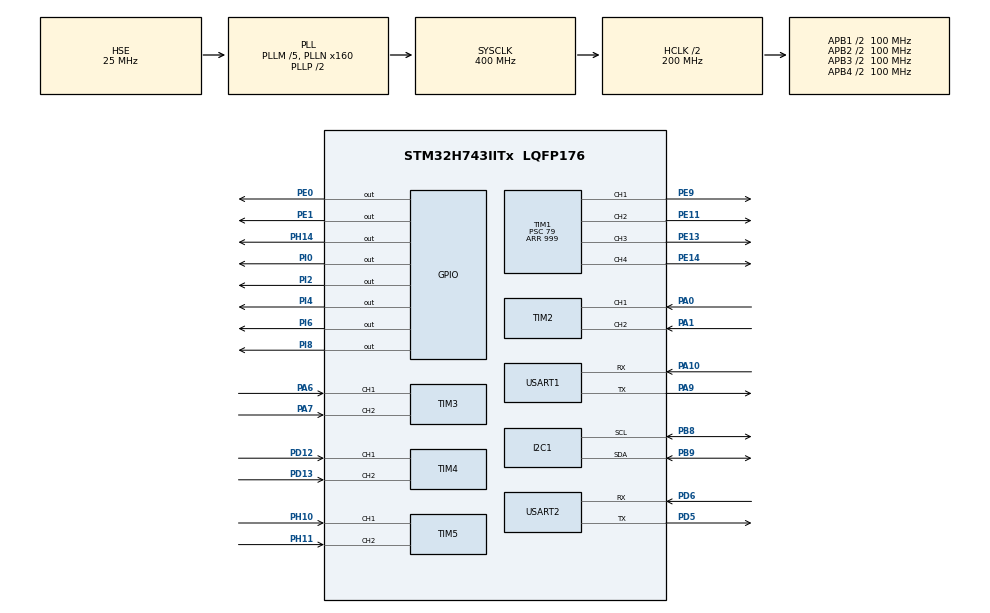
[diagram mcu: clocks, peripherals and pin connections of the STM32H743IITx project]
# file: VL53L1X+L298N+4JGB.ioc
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CORTEX_M7.default_mode_Activation=1
I2C1.Timing=0x10C0ECFF
Mcu.Family=STM32H7
Mcu.Name=STM32H743IITx
Mcu.Package=LQFP176
NVIC.PriorityGroup=NVIC_PRIORITYGROUP_4
NVIC.USART2_IRQn=true\:5\:0\:true\:false\:true\:true\:true\:true
PA0.Signal=S_TIM2_CH1_ETR
PA1.Signal=S_TIM2_CH2
PA10.Mode=Asynchronous
PA10.Signal=USART1_RX
PA6.Signal=S_TIM3_CH1
PA7.Signal=S_TIM3_CH2
PA9.Mode=Asynchronous
PA9.Signal=USART1_TX
PB8.Mode=I2C
PB8.Signal=I2C1_SCL
PB9.Mode=I2C
PB9.Signal=I2C1_SDA
PD12.Signal=S_TIM4_CH1
PD13.Signal=S_TIM4_CH2
PD5.Mode=Asynchronous
PD5.Signal=USART2_TX
PD6.Mode=Asynchronous
PD6.Signal=USART2_RX
PE0.Signal=GPIO_Output
PE1.Signal=GPIO_Output
PE11.Signal=S_TIM1_CH2
PE13.Signal=S_TIM1_CH3
PE14.Signal=S_TIM1_CH4
PE9.Signal=S_TIM1_CH1
PH0-OSC_IN\ (PH0).Mode=HSE-External-Oscillator
PH0-OSC_IN\ (PH0).Signal=RCC_OSC_IN
PH1-OSC_OUT\ (PH1).Mode=HSE-External-Oscillator
PH1-OSC_OUT\ (PH1).Signal=RCC_OSC_OUT
PH10.Signal=S_TIM5_CH1
PH11.Signal=S_TIM5_CH2
PH14.Signal=GPIO_Output
PI0.Signal=GPIO_Output
PI2.Signal=GPIO_Output
PI4.Signal=GPIO_Output
PI6.Signal=GPIO_Output
PI8.Signal=GPIO_Output
ProjectManager.HeapSize=0x200
ProjectManager.StackSize=0x400
ProjectManager.TargetToolchain=MDK-ARM V5.32
RCC.ADCFreq_Value=50390625
RCC.APB1Freq_Value=100000000
RCC.APB2Freq_Value=100000000
RCC.APB3Freq_Value=100000000
RCC.APB4Freq_Value=100000000
RCC.CortexFreq_Value=400000000
RCC.D1PPRE=RCC_APB3_DIV2
RCC.D2PPRE1=RCC_APB1_DIV2
RCC.D2PPRE2=RCC_APB2_DIV2
RCC.D3PPRE=RCC_APB4_DIV2
RCC.DIVM1=5
RCC.DIVN1=160
RCC.HCLKFreq_Value=200000000
RCC.HPRE=RCC_HCLK_DIV2
RCC.PLLSourceVirtual=RCC_PLLSOURCE_HSE
RCC.SYSCLKFreq_VALUE=400000000
RCC.SYSCLKSource=RCC_SYSCLKSOURCE_PLLCLK
RCC.USBFreq_Value=400000000
SH.S_TIM1_CH1.0=TIM1_CH1,PWM Generation1 CH1
SH.S_TIM1_CH2.0=TIM1_CH2,PWM Generation2 CH2
SH.S_TIM1_CH3.0=TIM1_CH3,PWM Generation3 CH3
SH.S_TIM1_CH4.0=TIM1_CH4,PWM Generation4 CH4
SH.S_TIM2_CH1_ETR.0=TIM2_CH1,Encoder_Interface
SH.S_TIM2_CH2.0=TIM2_CH2,Encoder_Interface
SH.S_TIM3_CH1.0=TIM3_CH1,Encoder_Interface
SH.S_TIM3_CH2.0=TIM3_CH2,Encoder_Interface
SH.S_TIM4_CH1.0=TIM4_CH1,Encoder_Interface
SH.S_TIM4_CH2.0=TIM4_CH2,Encoder_Interface
SH.S_TIM5_CH1.0=TIM5_CH1,Encoder_Interface
SH.S_TIM5_CH2.0=TIM5_CH2,Encoder_Interface
TIM1.Channel-PWM\ Generation1\ CH1=TIM_CHANNEL_1
TIM1.Channel-PWM\ Generation2\ CH2=TIM_CHANNEL_2
TIM1.Channel-PWM\ Generation3\ CH3=TIM_CHANNEL_3
TIM1.Channel-PWM\ Generation4\ CH4=TIM_CHANNEL_4
TIM1.Period=999
TIM1.Prescaler=79
TIM2.EncoderMode=TIM_ENCODERMODE_TI12
TIM3.EncoderMode=TIM_ENCODERMODE_TI12
TIM4.EncoderMode=TIM_ENCODERMODE_TI12
TIM5.EncoderMode=TIM_ENCODERMODE_TI12
USART1.VirtualMode-Asynchronous=VM_ASYNC
USART2.VirtualMode-Asynchronous=VM_ASYNC
board=custom

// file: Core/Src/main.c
/* USER CODE BEGIN Header */
/**
  ******************************************************************************
  * @file           : main.c
  * @brief          : Main program for tennis ball collection robot
  ******************************************************************************
  * @attention
  * Copyright (c) 2025 STMicroelectronics.
  * All rights reserved.
  * This software is licensed under terms that can be found in the LICENSE file
  * in the root directory of this software component.
  * If no LICENSE file comes with this software, it is provided AS-IS.
  ******************************************************************************
  */
/* USER CODE END Header */

#include "main.h"
#include "vl53l1_platform.h"
#include "VL53L1X_api.h"
#include <stdio.h>
#include <string.h>
#include <math.h>

/* USER CODE BEGIN Includes */
#define VL53L1X_DEV_ADDR  0x52      // 7-bit address << 1

// 状态定义
#define STATE_SEARCH        0  // 搜索状态：机器人正在旋转寻找网球
#define STATE_CENTERING     1  // 居中状态：机器人检测到网球后，调整位置使其在视野中心
#define STATE_APPROACH      2  // 接近状态：机器人向网球移动，保持网球在视野中心
#define STATE_LASER_GUIDED  3  // 激光引导状态：使用激光测距传感器进行精确接近
#define STATE_SUCCESS       4  // 成功状态：机器人已到达目标位置，收集网球

// 参数配置
#define CENTER_THRESHOLD   20       // 中心位置阈值(像素)
#define LASER_TARGET_MM    200      // 激光测距目标距离(mm)
#define LASER_MIN_MM       150      // 最小安全距离(mm)
#define LASER_START_MM     500      // 开始激光引导的距离(mm)
#define FORWARD_SPEED      700      // 前进速度(0-999)
#define TURN_SPEED         600      // 转向速度(0-999)
#define SLOW_SPEED         400      // 慢速前进速度
#define CENTER_TIMEOUT     5000     // 居中状态超时(ms)
#define APPROACH_TIMEOUT   10000    // 接近状态超时(ms)
#define LASER_START_MM     500   // 开始激光引导的距离(mm)
#define LASER_TARGET_MM    200   // 目标距离(mm)
#define LASER_MIN_MM       150   // 最小安全距离(mm)
#define MOTOR_PWM_60       600   // 60% PWM速度

// 视觉数据结构
typedef struct {
    uint32_t timestamp;
    uint8_t presence;      // 目标存在标志
    float dx, dy;          // 位置偏移
    float radius;          // 目标半径
    uint8_t approach_flag; // 允许接近标志
} VisionData;

/* USER CODE END Includes */

//定时器与串口等句柄
I2C_HandleTypeDef hi2c1;

TIM_HandleTypeDef htim1;   // PWM for EN pins
TIM_HandleTypeDef htim2;   // Encoder C
TIM_HandleTypeDef htim3;   // Encoder D
TIM_HandleTypeDef htim4;   // Encoder A
TIM_HandleTypeDef htim5;   // Encoder B

UART_HandleTypeDef huart1;
UART_HandleTypeDef huart2;

/* USER CODE BEGIN PV */
// 全局变量
VisionData currentVision = {0};       //当前视觉数据
uint16_t distance_mm = 0;							//激光测距的距离
uint8_t dataReady = 0;								//数据就绪标志
char uartBuf[128];                    //串口输出缓冲区

// 串口接收相关变量
uint8_t rxBuffer[128];  //串口接收缓冲区
uint8_t rxByte;         //接收字节
uint16_t rxIndex = 0;   //接收索引
uint8_t frameStarted = 0;   //帧开始标志

// 状态机变量
uint8_t state = STATE_SEARCH;         // 当前状态
uint32_t last_state_change = 0;       // 上次状态改变时间
uint32_t last_print_time = 0;         // 上次打印时间
uint32_t last_vision_print = 0;       // 上次视觉打印时间
uint32_t last_distance_print = 0;     // 上次距离打印时间

uint8_t debug_enabled = 1;            // 调试使能标志
uint8_t position_success_received = 0;// 定位成功标志

/* USER CODE END PV */

//声明系统初始化函数和用户自定义函数
void SystemClock_Config(void);
static void MPU_Config(void);
static void MX_GPIO_Init(void);
static void MX_I2C1_Init(void);
static void MX_TIM1_Init(void);
static void MX_TIM2_Init(void);
static void MX_TIM3_Init(void);
static void MX_TIM4_Init(void);
static void MX_TIM5_Init(void);
static void MX_USART1_UART_Init(void);
static void MX_USART2_UART_Init(void);
void Error_Handler(void);

/* USER CODE BEGIN PFP */
// 函数声明
void motor_stop(void);
void motor_forward(uint16_t speed);
void motor_backward(uint16_t speed);
void motor_turn_left(uint16_t speed);
void motor_turn_right(uint16_t speed);
void parseVisionData(uint8_t *data);
void update_state_machine(void);
void print_debug_info(void);
/* USER CODE END PFP */

/* USER CODE BEGIN 0 */
/**
  * @brief 解析视觉数据
  * @param data 收到的视觉数据帧
  */
void parseVisionData(uint8_t *data) {
    // 解析字符串格式数据；提取时间戳、位置偏移、半径等信息；检测"POSITION_SUCCESS"消息
    char *token = strtok((char*)data, ",");

    // 临时变量
    uint32_t t = 0;
    uint8_t pres = 0;
    float dx = 0, dy = 0, r = 0;
    uint8_t app = 0;

    while (token != NULL) {
        if (strstr(token, "t=")) {
            t = atoi(token + 2);
        }
        else if (strstr(token, "pres=")) {
            pres = atoi(token + 5);
        }
        else if (strstr(token, "dx=")) {
            dx = atof(token + 3);
        }
        else if (strstr(token, "dy=")) {
            dy = atof(token + 3);
        }
        else if (strstr(token, "r=")) {
            r = atof(token + 2);
        }
        else if (strstr(token, "app=")) {
            app = atoi(token + 4);
        }
        // 检测定位成功消息
        else if (strstr(token, "SYSTEM") && strstr(token, "POSITION_SUCCESS")) {
            position_success_received = 1;
            if (debug_enabled) {
                HAL_UART_Transmit(&huart1, (uint8_t*)"[SUCCESS] Position success received!\r\n", 38, 100);
            }
        }
        token = strtok(NULL, ",");
    }

    // 更新视觉数据结构
    currentVision.timestamp = t;
    currentVision.presence = pres;
    currentVision.dx = dx;
    currentVision.dy = dy;
    currentVision.radius = r;
    currentVision.approach_flag = app;
}

/**
  * @brief USART2接收中断回调函数
  */
void HAL_UART_RxCpltCallback(UART_HandleTypeDef *huart) {
    // 重新使能下一次中断
    if (huart->Instance == USART2) {
        HAL_UART_Receive_IT(&huart2, &rxByte, 1);

        if (rxByte == '<') {
            frameStarted = 1;
            rxIndex = 0;
            rxBuffer[rxIndex++] = rxByte;
        }
        else if (frameStarted) {
            if (rxIndex < sizeof(rxBuffer)-1) {
                rxBuffer[rxIndex++] = rxByte;
                // 检测到完整帧尾 ">\n"
                if (rxByte == '\n' && rxIndex >= 2 && rxBuffer[rxIndex-2] == '>') {
                    rxBuffer[rxIndex] = '\0'; // 添加字符串结束符

                    // 调试输出
                    if (debug_enabled) {
                        HAL_UART_Transmit(&huart1, (uint8_t*)"[VISION RAW] ", 12, 50);
                        HAL_UART_Transmit(&huart1, rxBuffer, rxIndex, 100);
                        HAL_UART_Transmit(&huart1, (uint8_t*)"\r\n", 2, 50);
                    }

                    parseVisionData(rxBuffer);
                    frameStarted = 0;
                }
            } else {
                // 缓冲区溢出，重置
                frameStarted = 0;
                if (debug_enabled) {
                    HAL_UART_Transmit(&huart1, (uint8_t*)"[WARN] Vision buffer overflow!\r\n", 31, 100);
                }
            }
        }
    }
}

/**
  * @brief 电机控制函数
  */
void motor_stop(void) { //关闭所有电机
    __HAL_TIM_SET_COMPARE(&htim1, TIM_CHANNEL_1, 0); // A
    __HAL_TIM_SET_COMPARE(&htim1, TIM_CHANNEL_2, 0); // B
    __HAL_TIM_SET_COMPARE(&htim1, TIM_CHANNEL_3, 0); // D
    __HAL_TIM_SET_COMPARE(&htim1, TIM_CHANNEL_4, 0); // C
}

/**
  * @brief 控制小车前进
  * @param speed PWM速度值 (0-999)
  */
/**
  * @brief 控制小车前进 (修正方向)
  * @param speed PWM速度值 (0-999)
  */
void motor_forward(uint16_t speed) {
    // 左侧电机 (A和C) - 正转 (修正方向)
    HAL_GPIO_WritePin(GPIOH, GPIO_PIN_14, GPIO_PIN_RESET);   // A_IN1
    HAL_GPIO_WritePin(GPIOI, GPIO_PIN_0, GPIO_PIN_SET);      // A_IN2
    HAL_GPIO_WritePin(GPIOI, GPIO_PIN_8, GPIO_PIN_RESET);    // C_IN1
    HAL_GPIO_WritePin(GPIOI, GPIO_PIN_6, GPIO_PIN_SET);      // C_IN2

    // 右侧电机 (B和D) - 正转 (修正方向)
    HAL_GPIO_WritePin(GPIOI, GPIO_PIN_2, GPIO_PIN_RESET);    // B_IN1
    HAL_GPIO_WritePin(GPIOI, GPIO_PIN_4, GPIO_PIN_SET);      // B_IN2
    HAL_GPIO_WritePin(GPIOE, GPIO_PIN_1, GPIO_PIN_RESET);     // D_IN1
    HAL_GPIO_WritePin(GPIOE, GPIO_PIN_0, GPIO_PIN_SET);       // D_IN2

    // 设置PWM速度
    __HAL_TIM_SET_COMPARE(&htim1, TIM_CHANNEL_1, speed); // A
    __HAL_TIM_SET_COMPARE(&htim1, TIM_CHANNEL_2, speed); // B
    __HAL_TIM_SET_COMPARE(&htim1, TIM_CHANNEL_3, speed); // D
    __HAL_TIM_SET_COMPARE(&htim1, TIM_CHANNEL_4, speed); // C
}

/**
  * @brief 控制小车后退 (修正方向)
  * @param speed PWM速度值 (0-999)
  */
void motor_backward(uint16_t speed) {
    // 左侧电机 (A和C) - 反转 (修正方向)
    HAL_GPIO_WritePin(GPIOH, GPIO_PIN_14, GPIO_PIN_SET);      // A_IN1
    HAL_GPIO_WritePin(GPIOI, GPIO_PIN_0, GPIO_PIN_RESET);     // A_IN2
    HAL_GPIO_WritePin(GPIOI, GPIO_PIN_8, GPIO_PIN_SET);       // C_IN1
    HAL_GPIO_WritePin(GPIOI, GPIO_PIN_6, GPIO_PIN_RESET);     // C_IN2

    // 右侧电机 (B和D) - 反转 (修正方向)
    HAL_GPIO_WritePin(GPIOI, GPIO_PIN_2, GPIO_PIN_SET);       // B_IN1
    HAL_GPIO_WritePin(GPIOI, GPIO_PIN_4, GPIO_PIN_RESET);     // B_IN2
    HAL_GPIO_WritePin(GPIOE, GPIO_PIN_1, GPIO_PIN_SET);       // D_IN1
    HAL_GPIO_WritePin(GPIOE, GPIO_PIN_0, GPIO_PIN_RESET);     // D_IN2

    // 设置PWM速度
    __HAL_TIM_SET_COMPARE(&htim1, TIM_CHANNEL_1, speed); // A
    __HAL_TIM_SET_COMPARE(&htim1, TIM_CHANNEL_2, speed); // B
    __HAL_TIM_SET_COMPARE(&htim1, TIM_CHANNEL_3, speed); // D
    __HAL_TIM_SET_COMPARE(&htim1, TIM_CHANNEL_4, speed); // C
}

/**
  * @brief 控制小车左转 (修正方向)
  * @param speed PWM速度值 (0-999)
  */
void motor_turn_left(uint16_t speed) {
    // 左侧后退 (修正方向)
    HAL_GPIO_WritePin(GPIOH, GPIO_PIN_14, GPIO_PIN_SET);      // A_IN1
    HAL_GPIO_WritePin(GPIOI, GPIO_PIN_0, GPIO_PIN_RESET);     // A_IN2
    HAL_GPIO_WritePin(GPIOI, GPIO_PIN_8, GPIO_PIN_SET);       // C_IN1
    HAL_GPIO_WritePin(GPIOI, GPIO_PIN_6, GPIO_PIN_RESET);     // C_IN2

    // 右侧前进 (修正方向)
    HAL_GPIO_WritePin(GPIOI, GPIO_PIN_2, GPIO_PIN_RESET);    // B_IN1
    HAL_GPIO_WritePin(GPIOI, GPIO_PIN_4, GPIO_PIN_SET);      // B_IN2
    HAL_GPIO_WritePin(GPIOE, GPIO_PIN_1, GPIO_PIN_RESET);     // D_IN1
    HAL_GPIO_WritePin(GPIOE, GPIO_PIN_0, GPIO_PIN_SET);       // D_IN2

    // 设置PWM速度
    __HAL_TIM_SET_COMPARE(&htim1, TIM_CHANNEL_1, speed); // A
    __HAL_TIM_SET_COMPARE(&htim1, TIM_CHANNEL_2, speed); // B
    __HAL_TIM_SET_COMPARE(&htim1, TIM_CHANNEL_3, speed); // D
    __HAL_TIM_SET_COMPARE(&htim1, TIM_CHANNEL_4, speed); // C
}

/**
  * @brief 控制小车右转 (修正方向)
  * @param speed PWM速度值 (0-999)
  */
void motor_turn_right(uint16_t speed) {
    // 左侧前进 (修正方向)
    HAL_GPIO_WritePin(GPIOH, GPIO_PIN_14, GPIO_PIN_RESET);   // A_IN1
    HAL_GPIO_WritePin(GPIOI, GPIO_PIN_0, GPIO_PIN_SET);      // A_IN2
    HAL_GPIO_WritePin(GPIOI, GPIO_PIN_8, GPIO_PIN_RESET);    // C_IN1
    HAL_GPIO_WritePin(GPIOI, GPIO_PIN_6, GPIO_PIN_SET);      // C_IN2

    // 右侧后退 (修正方向)
    HAL_GPIO_WritePin(GPIOI, GPIO_PIN_2, GPIO_PIN_SET);       // B_IN1
    HAL_GPIO_WritePin(GPIOI, GPIO_PIN_4, GPIO_PIN_RESET);     // B_IN2
    HAL_GPIO_WritePin(GPIOE, GPIO_PIN_1, GPIO_PIN_SET);       // D_IN1
    HAL_GPIO_WritePin(GPIOE, GPIO_PIN_0, GPIO_PIN_RESET);     // D_IN2

    // 设置PWM速度
    __HAL_TIM_SET_COMPARE(&htim1, TIM_CHANNEL_1, speed); // A
    __HAL_TIM_SET_COMPARE(&htim1, TIM_CHANNEL_2, speed); // B
    __HAL_TIM_SET_COMPARE(&htim1, TIM_CHANNEL_3, speed); // D
    __HAL_TIM_SET_COMPARE(&htim1, TIM_CHANNEL_4, speed); // C
}

/**
  * @brief 更新状态机逻辑
  */
/* USER CODE BEGIN 0 */
/**
  * @brief 更新状态机逻辑
  */
void update_state_machine(void) {
    uint32_t current_time = HAL_GetTick();
    static uint32_t last_ball_time = 0;
    static uint32_t laser_start_time = 0;

    // 检查是否收到定位成功消息 - 最高优先级
    if (position_success_received) {
        state = STATE_LASER_GUIDED;
        last_state_change = current_time;
        laser_start_time = current_time;  // 记录进入激光引导的时间
        position_success_received = 0;    // 重置标志
        motor_stop();  // 确保停止

        if (debug_enabled) {
            HAL_UART_Transmit(&huart1, (uint8_t*)"[STATE] Transition to LASER_GUIDED (from position success)\r\n", 55, 100);
        }
        return;  // 立即处理状态切换
    }

    // 检测网球是否丢失（超过500ms未更新）
    if (current_time - last_ball_time > 500 && state != STATE_SEARCH && state != STATE_LASER_GUIDED) {
        if (debug_enabled) {
            HAL_UART_Transmit(&huart1, (uint8_t*)"[STATE] Ball lost, returning to SEARCH\r\n", 40, 100);
        }
        state = STATE_SEARCH;
        motor_stop();
        return;
    }

    // 更新最后检测到网球的时间
    if (currentVision.presence) {
        last_ball_time = current_time;
    }

    switch (state) {
        case STATE_SEARCH:
            // 未检测到网球，原地旋转
            if (!currentVision.presence) {
                motor_turn_left(TURN_SPEED);

                // 状态超时处理
                if (current_time - last_state_change > 10000) {
                    motor_turn_right(TURN_SPEED); // 改变旋转方向
                    last_state_change = current_time;
                }
            }
            // 检测到网球，进入居中状态
            else {
                state = STATE_CENTERING;
                last_state_change = current_time;
                motor_stop();
                HAL_Delay(100); // 短暂停止

                if (debug_enabled) {
                    HAL_UART_Transmit(&huart1, (uint8_t*)"[STATE] Transition to CENTERING\r\n", 32, 100);
                }
            }
            break;

        case STATE_CENTERING:
            // 网球丢失，返回搜索状态
            if (!currentVision.presence) {
                state = STATE_SEARCH;
                motor_stop();
                if (debug_enabled) {
                    HAL_UART_Transmit(&huart1, (uint8_t*)"[STATE] Ball lost, back to SEARCH\r\n", 35, 100);
                }
            }
            // 状态超时处理
            else if (current_time - last_state_change > CENTER_TIMEOUT) {
                state = STATE_SEARCH;
                motor_stop();
                if (debug_enabled) {
                    HAL_UART_Transmit(&huart1, (uint8_t*)"[STATE] CENTERING timeout\r\n", 27, 100);
                }
            }
            // 调整位置使网球居中
            else {
                // X方向调整（左右）
                if (fabs(currentVision.dx) > CENTER_THRESHOLD) {
                    if (currentVision.dx > 0) {
                        motor_turn_right(TURN_SPEED);
                    } else {
                        motor_turn_left(TURN_SPEED);
                    }
                }
                // Y方向调整（前后）
                else if (fabs(currentVision.dy) > CENTER_THRESHOLD) {
                    if (currentVision.dy > 0) {
                        motor_backward(SLOW_SPEED); // 网球偏下，后退
                    } else {
                        motor_forward(SLOW_SPEED); // 网球偏上，前进
                    }
                }
                // 网球已居中
                else {
                    state = STATE_APPROACH;
                    last_state_change = current_time;

                    if (debug_enabled) {
                        HAL_UART_Transmit(&huart1, (uint8_t*)"[STATE] Transition to APPROACH\r\n", 31, 100);
                    }
                }
            }
            break;

        case STATE_APPROACH:
            // 网球丢失，返回搜索状态
            if (!currentVision.presence) {
                state = STATE_SEARCH;
                motor_stop();
                if (debug_enabled) {
                    HAL_UART_Transmit(&huart1, (uint8_t*)"[STATE] Ball lost, back to SEARCH\r\n", 35, 100);
                }
            }
            // 状态超时处理
            else if (current_time - last_state_change > APPROACH_TIMEOUT) {
                state = STATE_SEARCH;
                motor_stop();
                if (debug_enabled) {
                    HAL_UART_Transmit(&huart1, (uint8_t*)"[STATE] APPROACH timeout\r\n", 26, 100);
                }
            }
            // 控制逻辑：r<43时前进，dx/dy不在0附近时左右调整
            else {
                // 1. 位置调整优先：如果dx超过中心阈值，进行左右调整
                if (fabs(currentVision.dx) > CENTER_THRESHOLD) {
                    if (currentVision.dx > 0) {
                        motor_turn_right(TURN_SPEED); // 球在右边，向右转
                        if (debug_enabled) {
                            HAL_UART_Transmit(&huart1, (uint8_t*)"[APPROACH] Turning right\r\n", 25, 100);
                        }
                    } else {
                        motor_turn_left(TURN_SPEED);  // 球在左边，向左转
                        if (debug_enabled) {
                            HAL_UART_Transmit(&huart1, (uint8_t*)"[APPROACH] Turning left\r\n", 24, 100);
                        }
                    }
                }
                // 2. 前进条件：如果位置基本居中且r<43，前进
                else if (currentVision.radius < 43) {
                    motor_forward(FORWARD_SPEED);
                    if (debug_enabled) {
                        HAL_UART_Transmit(&huart1, (uint8_t*)"[APPROACH] Moving forward (r<43)\r\n", 33, 100);
                    }
                }
                // 3. 当r>=43时，停止并等待定位成功消息
                else {
                    motor_stop();
                    if (debug_enabled) {
                        HAL_UART_Transmit(&huart1, (uint8_t*)"[APPROACH] Stopped (r>=43, waiting for success)\r\n", 47, 100);
                    }

                    // 额外安全机制：如果等待超过5秒还没有收到成功消息，返回搜索
                    if (current_time - last_state_change > 5000) {
                        state = STATE_SEARCH;
                        if (debug_enabled) {
                            HAL_UART_Transmit(&huart1, (uint8_t*)"[APPROACH] Timeout waiting for success message\r\n", 48, 100);
                        }
                    }
                }
            }
            break;

        case STATE_LASER_GUIDED:
            // 确保激光测距已启动
            if (laser_start_time == 0) {
                laser_start_time = current_time;
            }

            // 读取激光距离数据
            if (VL53L1X_CheckForDataReady(VL53L1X_DEV_ADDR, &dataReady) == 0 && dataReady) {
                VL53L1X_GetDistance(VL53L1X_DEV_ADDR, &distance_mm);
                VL53L1X_ClearInterrupt(VL53L1X_DEV_ADDR);

                if (debug_enabled) {
                    int len = snprintf(uartBuf, sizeof(uartBuf),
                                      "[LASER] Distance: %d mm\r\n", distance_mm);
                    HAL_UART_Transmit(&huart1, (uint8_t*)uartBuf, len, 100);
                }

                // 检查距离范围并控制电机
                if (distance_mm >= LASER_MIN_MM && distance_mm <= LASER_START_MM) {
                    // 前进逻辑 - 确保小车前进

                    // 左侧电机 (A和C) - 正转
                    HAL_GPIO_WritePin(GPIOH, GPIO_PIN_14, GPIO_PIN_RESET);   // A_IN1
                    HAL_GPIO_WritePin(GPIOI, GPIO_PIN_0, GPIO_PIN_SET);  // A_IN2
                    HAL_GPIO_WritePin(GPIOI, GPIO_PIN_8, GPIO_PIN_RESET);    // C_IN1
                    HAL_GPIO_WritePin(GPIOI, GPIO_PIN_6, GPIO_PIN_SET);  // C_IN2

                    // 右侧电机 (B和D) - 正转
                    HAL_GPIO_WritePin(GPIOI, GPIO_PIN_2, GPIO_PIN_RESET);    // B_IN1
                    HAL_GPIO_WritePin(GPIOI, GPIO_PIN_4, GPIO_PIN_SET);  // B_IN2
                    HAL_GPIO_WritePin(GPIOE, GPIO_PIN_1, GPIO_PIN_RESET);    // D_IN1
                    HAL_GPIO_WritePin(GPIOE, GPIO_PIN_0, GPIO_PIN_SET);  // D_IN2

                    // 设置PWM速度 (60%)
                    __HAL_TIM_SET_COMPARE(&htim1, TIM_CHANNEL_1, MOTOR_PWM_60); // A
                    __HAL_TIM_SET_COMPARE(&htim1, TIM_CHANNEL_2, MOTOR_PWM_60); // B
                    __HAL_TIM_SET_COMPARE(&htim1, TIM_CHANNEL_3, MOTOR_PWM_60); // D
                    __HAL_TIM_SET_COMPARE(&htim1, TIM_CHANNEL_4, MOTOR_PWM_60); // C

                    if (debug_enabled) {
                        HAL_UART_Transmit(&huart1, (uint8_t*)"[LASER] Moving forward\r\n", 22, 100);
                    }
                } else {
                    // 停止所有电机
                    motor_stop();

                    if (debug_enabled) {
                        HAL_UART_Transmit(&huart1, (uint8_t*)"[LASER] Stopped\r\n", 16, 100);
                    }

                    // 达到目标距离，停止
                    if (distance_mm > 0 && distance_mm <= LASER_TARGET_MM) {
                        state = STATE_SUCCESS;
                        if (debug_enabled) {
                            HAL_UART_Transmit(&huart1, (uint8_t*)"[SUCCESS] Reached target distance (200mm)!\r\n", 44, 100);
                        }
                    }
                }
            } else {
                // 没有数据时停止
                motor_stop();
            }

            // 状态超时处理（防止卡在激光引导状态）
            if (current_time - laser_start_time > 15000) {  // 15秒超时
                state = STATE_SEARCH;
                motor_stop();
                laser_start_time = 0;
                if (debug_enabled) {
                    HAL_UART_Transmit(&huart1, (uint8_t*)"[STATE] LASER_GUIDED timeout\r\n", 30, 100);
                }
            }
            break;

        case STATE_SUCCESS:
            // 成功状态，保持停止
            motor_stop();

            // 检测网球是否移动（重新出现）
            if (currentVision.presence &&
                (fabs(currentVision.dx) > CENTER_THRESHOLD ||
                 fabs(currentVision.dy) > CENTER_THRESHOLD)) {
                state = STATE_CENTERING;
                last_state_change = current_time;
                if (debug_enabled) {
                    HAL_UART_Transmit(&huart1, (uint8_t*)"[STATE] Ball moved, returning to CENTERING\r\n", 41, 100);
                }
            }
            break;
    }
}

/**
  * @brief 打印调试信息
  */
void print_debug_info(void) {
    uint32_t current_time = HAL_GetTick();

    // 打印视觉数据
    if (current_time - last_vision_print > 300) {
        int len = snprintf(uartBuf, sizeof(uartBuf),
                          "[VISION] pres=%d, dx=%.1f, dy=%.1f, r=%.1f, app=%d\r\n",
                          currentVision.presence,
                          currentVision.dx,
                          currentVision.dy,
                          currentVision.radius,
                          currentVision.approach_flag);
        HAL_UART_Transmit(&huart1, (uint8_t*)uartBuf, len, 100);
        last_vision_print = current_time;
    }

    // 打印激光测距数据
    if (current_time - last_distance_print > 300) {
        int len = snprintf(uartBuf, sizeof(uartBuf),
                          "[LASER] Distance: %d mm\r\n", distance_mm);
        HAL_UART_Transmit(&huart1, (uint8_t*)uartBuf, len, 100);
        last_distance_print = current_time;
    }

    // 打印状态信息
    if (current_time - last_print_time > 1000) {
        const char* state_names[] = {
            "SEARCH", "CENTERING", "APPROACH", "LASER_GUIDED", "SUCCESS"
        };
        int len = snprintf(uartBuf, sizeof(uartBuf),
                          "[STATE] Current: %s, Time: %lums\r\n",
                          state_names[state], current_time - last_state_change);
        HAL_UART_Transmit(&huart1, (uint8_t*)uartBuf, len, 100);
        last_print_time = current_time;
    }
}

/* USER CODE END 0 */

int main(void)
{

  /* MCU Configuration--------------------------------------------------------*/
  HAL_Init();
  SystemClock_Config();
  MPU_Config();

  /* Initialize all configured peripherals */
  MX_GPIO_Init();
  MX_I2C1_Init();
  MX_TIM1_Init();
  MX_TIM2_Init();
  MX_TIM3_Init();
  MX_TIM4_Init();
  MX_TIM5_Init();
  MX_USART1_UART_Init();
  MX_USART2_UART_Init();

  /* USER CODE BEGIN 2 */
  HAL_UART_Transmit(&huart1, (uint8_t*)"System Initialized\r\n", 20, 100);

  // 启用USART2接收中断（来自树莓派的数据）
  HAL_UART_Receive_IT(&huart2, &rxByte, 1);

  // 初始化VL53L1X传感器
  if (VL53L1X_SensorInit(VL53L1X_DEV_ADDR) != 0) {
      HAL_UART_Transmit(&huart1, (uint8_t*)"VL53L1X Init Failed!\r\n", 22, 100);
  } else {
      VL53L1X_SetDistanceMode(VL53L1X_DEV_ADDR, 1); // 设置距离模式为短距离
      VL53L1X_SetTimingBudgetInMs(VL53L1X_DEV_ADDR, 50); // 设置测距周期为50ms
      if (VL53L1X_StartRanging(VL53L1X_DEV_ADDR) != 0) {
          HAL_UART_Transmit(&huart1, (uint8_t*)"VL53L1X Start Failed!\r\n", 23, 100);
      } else {
          HAL_UART_Transmit(&huart1, (uint8_t*)"VL53L1X Ready\r\n", 15, 100);
      }
  }

  // 启动PWM
  HAL_TIM_PWM_Start(&htim1, TIM_CHANNEL_1);
  HAL_TIM_PWM_Start(&htim1, TIM_CHANNEL_2);
  HAL_TIM_PWM_Start(&htim1, TIM_CHANNEL_3);
  HAL_TIM_PWM_Start(&htim1, TIM_CHANNEL_4);

  // 初始状态
  state = STATE_SEARCH;
  last_state_change = HAL_GetTick();

  HAL_UART_Transmit(&huart1, (uint8_t*)"Starting tennis ball collection...\r\n", 36, 100);
  /* USER CODE END 2 */

  /* Infinite loop */
  /* USER CODE BEGIN WHILE */
  while (1)
  {
    // 1. 处理激光测距数据
    if (VL53L1X_CheckForDataReady(VL53L1X_DEV_ADDR, &dataReady) == 0 && dataReady) {
        VL53L1X_GetDistance(VL53L1X_DEV_ADDR, &distance_mm);
        VL53L1X_ClearInterrupt(VL53L1X_DEV_ADDR);
    }

    // 2. 更新状态机
    update_state_machine();

    // 3. 打印调试信息
    if (debug_enabled) {
        print_debug_info();
    }

    HAL_Delay(50);
    /* USER CODE END WHILE */

  }
}

void SystemClock_Config(void)
{
  RCC_OscInitTypeDef RCC_OscInitStruct = {0};
  RCC_ClkInitTypeDef RCC_ClkInitStruct = {0};

  /** Supply configuration update enable
  */
  HAL_PWREx_ConfigSupply(PWR_LDO_SUPPLY);

  /** Configure the main internal regulator output voltage
  */
  __HAL_PWR_VOLTAGESCALING_CONFIG(PWR_REGULATOR_VOLTAGE_SCALE1);

  while(!__HAL_PWR_GET_FLAG(PWR_FLAG_VOSRDY)) {}

  /** Initializes the RCC Oscillators according to the specified parameters
  * in the RCC_OscInitTypeDef structure.
  */
  RCC_OscInitStruct.OscillatorType = RCC_OSCILLATORTYPE_HSE;
  RCC_OscInitStruct.HSEState = RCC_HSE_ON;
  RCC_OscInitStruct.PLL.PLLState = RCC_PLL_ON;
  RCC_OscInitStruct.PLL.PLLSource = RCC_PLLSOURCE_HSE;
  RCC_OscInitStruct.PLL.PLLM = 5;
  RCC_OscInitStruct.PLL.PLLN = 160;
  RCC_OscInitStruct.PLL.PLLP = 2;
  RCC_OscInitStruct.PLL.PLLQ = 2;
  RCC_OscInitStruct.PLL.PLLR = 2;
  RCC_OscInitStruct.PLL.PLLRGE = RCC_PLL1VCIRANGE_2;
  RCC_OscInitStruct.PLL.PLLVCOSEL = RCC_PLL1VCOWIDE;
  RCC_OscInitStruct.PLL.PLLFRACN = 0;
  if (HAL_RCC_OscConfig(&RCC_OscInitStruct) != HAL_OK)
  {
    Error_Handler();
  }

  /** Initializes the CPU, AHB and APB buses clocks
  */
  RCC_ClkInitStruct.ClockType = RCC_CLOCKTYPE_HCLK|RCC_CLOCKTYPE_SYSCLK
                              |RCC_CLOCKTYPE_PCLK1|RCC_CLOCKTYPE_PCLK2
                              |RCC_CLOCKTYPE_D3PCLK1|RCC_CLOCKTYPE_D1PCLK1;
  RCC_ClkInitStruct.SYSCLKSource = RCC_SYSCLKSOURCE_PLLCLK;
  RCC_ClkInitStruct.SYSCLKDivider = RCC_SYSCLK_DIV1;
  RCC_ClkInitStruct.AHBCLKDivider = RCC_HCLK_DIV2;
  RCC_ClkInitStruct.APB3CLKDivider = RCC_APB3_DIV2;
  RCC_ClkInitStruct.APB1CLKDivider = RCC_APB1_DIV2;
  RCC_ClkInitStruct.APB2CLKDivider = RCC_APB2_DIV2;
  RCC_ClkInitStruct.APB4CLKDivider = RCC_APB4_DIV2;

  if (HAL_RCC_ClockConfig(&RCC_ClkInitStruct, FLASH_LATENCY_2) != HAL_OK)
  {
    Error_Handler();
  }
}

static void MX_I2C1_Init(void)
{

  hi2c1.Instance = I2C1;
  hi2c1.Init.Timing = 0x10C0ECFF;
  hi2c1.Init.OwnAddress1 = 0;
  hi2c1.Init.AddressingMode = I2C_ADDRESSINGMODE_7BIT;
  hi2c1.Init.DualAddressMode = I2C_DUALADDRESS_DISABLE;
  hi2c1.Init.OwnAddress2 = 0;
  hi2c1.Init.OwnAddress2Masks = I2C_OA2_NOMASK;
  hi2c1.Init.GeneralCallMode = I2C_GENERALCALL_DISABLE;
  hi2c1.Init.NoStretchMode = I2C_NOSTRETCH_DISABLE;
  if (HAL_I2C_Init(&hi2c1) != HAL_OK)
  {
    Error_Handler();
  }

  /** Configure Analogue filter
  */
  if (HAL_I2CEx_ConfigAnalogFilter(&hi2c1, I2C_ANALOGFILTER_ENABLE) != HAL_OK)
  {
    Error_Handler();
  }

  /** Configure Digital filter
  */
  if (HAL_I2CEx_ConfigDigitalFilter(&hi2c1, 0) != HAL_OK)
  {
    Error_Handler();
  }

}

static void MX_TIM1_Init(void)
{

  TIM_MasterConfigTypeDef sMasterConfig = {0};
  TIM_OC_InitTypeDef sConfigOC = {0};
  TIM_BreakDeadTimeConfigTypeDef sBreakDeadTimeConfig = {0};

  htim1.Instance = TIM1;
  htim1.Init.Prescaler = 79;
  htim1.Init.CounterMode = TIM_COUNTERMODE_UP;
  htim1.Init.Period = 999;
  htim1.Init.ClockDivision = TIM_CLOCKDIVISION_DIV1;
  htim1.Init.RepetitionCounter = 0;
  htim1.Init.AutoReloadPreload = TIM_AUTORELOAD_PRELOAD_DISABLE;
  if (HAL_TIM_PWM_Init(&htim1) != HAL_OK)
  {
    Error_Handler();
  }
  sMasterConfig.MasterOutputTrigger = TIM_TRGO_RESET;
  sMasterConfig.MasterOutputTrigger2 = TIM_TRGO2_RESET;
  sMasterConfig.MasterSlaveMode = TIM_MASTERSLAVEMODE_DISABLE;
  if (HAL_TIMEx_MasterConfigSynchronization(&htim1, &sMasterConfig) != HAL_OK)
  {
    Error_Handler();
  }
  sConfigOC.OCMode = TIM_OCMODE_PWM1;
  sConfigOC.Pulse = 0;
  sConfigOC.OCPolarity = TIM_OCPOLARITY_HIGH;
  sConfigOC.OCNPolarity = TIM_OCNPOLARITY_HIGH;
  sConfigOC.OCFastMode = TIM_OCFAST_DISABLE;
  sConfigOC.OCIdleState = TIM_OCIDLESTATE_RESET;
  sConfigOC.OCNIdleState = TIM_OCNIDLESTATE_RESET;
  if (HAL_TIM_PWM_ConfigChannel(&htim1, &sConfigOC, TIM_CHANNEL_1) != HAL_OK)
  {
    Error_Handler();
  }
  if (HAL_TIM_PWM_ConfigChannel(&htim1, &sConfigOC, TIM_CHANNEL_2) != HAL_OK)
  {
    Error_Handler();
  }
  if (HAL_TIM_PWM_ConfigChannel(&htim1, &sConfigOC, TIM_CHANNEL_3) != HAL_OK)
  {
    Error_Handler();
  }
  if (HAL_TIM_PWM_ConfigChannel(&htim1, &sConfigOC, TIM_CHANNEL_4) != HAL_OK)
  {
    Error_Handler();
  }
  sBreakDeadTimeConfig.OffStateRunMode = TIM_OSSR_DISABLE;
  sBreakDeadTimeConfig.OffStateIDLEMode = TIM_OSSI_DISABLE;
  sBreakDeadTimeConfig.LockLevel = TIM_LOCKLEVEL_OFF;
  sBreakDeadTimeConfig.DeadTime = 0;
  sBreakDeadTimeConfig.BreakState = TIM_BREAK_DISABLE;
  sBreakDeadTimeConfig.BreakPolarity = TIM_BREAKPOLARITY_HIGH;
  sBreakDeadTimeConfig.BreakFilter = 0;
  sBreakDeadTimeConfig.Break2State = TIM_BREAK2_DISABLE;
  sBreakDeadTimeConfig.Break2Polarity = TIM_BREAK2POLARITY_HIGH;
  sBreakDeadTimeConfig.Break2Filter = 0;
  sBreakDeadTimeConfig.AutomaticOutput = TIM_AUTOMATICOUTPUT_DISABLE;
  if (HAL_TIMEx_ConfigBreakDeadTime(&htim1, &sBreakDeadTimeConfig) != HAL_OK)
  {
    Error_Handler();
  }
  HAL_TIM_MspPostInit(&htim1);

}

static void MX_TIM2_Init(void)
{

  TIM_Encoder_InitTypeDef sConfig = {0};
  TIM_MasterConfigTypeDef sMasterConfig = {0};

  htim2.Instance = TIM2;
  htim2.Init.Prescaler = 0;
  htim2.Init.CounterMode = TIM_COUNTERMODE_UP;
  htim2.Init.Period = 4294967295;
  htim2.Init.ClockDivision = TIM_CLOCKDIVISION_DIV1;
  htim2.Init.AutoReloadPreload = TIM_AUTORELOAD_PRELOAD_DISABLE;
  sConfig.EncoderMode = TIM_ENCODERMODE_TI12;
  sConfig.IC1Polarity = TIM_ICPOLARITY_RISING;
  sConfig.IC1Selection = TIM_ICSELECTION_DIRECTTI;
  sConfig.IC1Prescaler = TIM_ICPSC_DIV1;
  sConfig.IC1Filter = 0;
  sConfig.IC2Polarity = TIM_ICPOLARITY_RISING;
  sConfig.IC2Selection = TIM_ICSELECTION_DIRECTTI;
  sConfig.IC2Prescaler = TIM_ICPSC_DIV1;
  sConfig.IC2Filter = 0;
  if (HAL_TIM_Encoder_Init(&htim2, &sConfig) != HAL_OK)
  {
    Error_Handler();
  }
  sMasterConfig.MasterOutputTrigger = TIM_TRGO_RESET;
  sMasterConfig.MasterSlaveMode = TIM_MASTERSLAVEMODE_DISABLE;
  if (HAL_TIMEx_MasterConfigSynchronization(&htim2, &sMasterConfig) != HAL_OK)
  {
    Error_Handler();
  }

}

static void MX_TIM3_Init(void)
{

  TIM_Encoder_InitTypeDef sConfig = {0};
  TIM_MasterConfigTypeDef sMasterConfig = {0};

  htim3.Instance = TIM3;
  htim3.Init.Prescaler = 0;
  htim3.Init.CounterMode = TIM_COUNTERMODE_UP;
  htim3.Init.Period = 65535;
  htim3.Init.ClockDivision = TIM_CLOCKDIVISION_DIV1;
  htim3.Init.AutoReloadPreload = TIM_AUTORELOAD_PRELOAD_DISABLE;
  sConfig.EncoderMode = TIM_ENCODERMODE_TI12;
  sConfig.IC1Polarity = TIM_ICPOLARITY_RISING;
  sConfig.IC1Selection = TIM_ICSELECTION_DIRECTTI;
  sConfig.IC1Prescaler = TIM_ICPSC_DIV1;
  sConfig.IC1Filter = 0;
  sConfig.IC2Polarity = TIM_ICPOLARITY_RISING;
  sConfig.IC2Selection = TIM_ICSELECTION_DIRECTTI;
  sConfig.IC2Prescaler = TIM_ICPSC_DIV1;
  sConfig.IC2Filter = 0;
  if (HAL_TIM_Encoder_Init(&htim3, &sConfig) != HAL_OK)
  {
    Error_Handler();
  }
  sMasterConfig.MasterOutputTrigger = TIM_TRGO_RESET;
  sMasterConfig.MasterSlaveMode = TIM_MASTERSLAVEMODE_DISABLE;
  if (HAL_TIMEx_MasterConfigSynchronization(&htim3, &sMasterConfig) != HAL_OK)
  {
    Error_Handler();
  }

}

static void MX_TIM4_Init(void)
{

  TIM_Encoder_InitTypeDef sConfig = {0};
  TIM_MasterConfigTypeDef sMasterConfig = {0};

  htim4.Instance = TIM4;
  htim4.Init.Prescaler = 0;
  htim4.Init.CounterMode = TIM_COUNTERMODE_UP;
  htim4.Init.Period = 65535;
  htim4.Init.ClockDivision = TIM_CLOCKDIVISION_DIV1;
  htim4.Init.AutoReloadPreload = TIM_AUTORELOAD_PRELOAD_DISABLE;
  sConfig.EncoderMode = TIM_ENCODERMODE_TI12;
  sConfig.IC1Polarity = TIM_ICPOLARITY_RISING;
  sConfig.IC1Selection = TIM_ICSELECTION_DIRECTTI;
  sConfig.IC1Prescaler = TIM_ICPSC_DIV1;
  sConfig.IC1Filter = 0;
  sConfig.IC2Polarity = TIM_ICPOLARITY_RISING;
  sConfig.IC2Selection = TIM_ICSELECTION_DIRECTTI;
  sConfig.IC2Prescaler = TIM_ICPSC_DIV1;
  sConfig.IC2Filter = 0;
  if (HAL_TIM_Encoder_Init(&htim4, &sConfig) != HAL_OK)
  {
    Error_Handler();
  }
  sMasterConfig.MasterOutputTrigger = TIM_TRGO_RESET;
  sMasterConfig.MasterSlaveMode = TIM_MASTERSLAVEMODE_DISABLE;
  if (HAL_TIMEx_MasterConfigSynchronization(&htim4, &sMasterConfig) != HAL_OK)
  {
    Error_Handler();
  }

}

static void MX_TIM5_Init(void)
{

  TIM_Encoder_InitTypeDef sConfig = {0};
  TIM_MasterConfigTypeDef sMasterConfig = {0};

  htim5.Instance = TIM5;
  htim5.Init.Prescaler = 0;
  htim5.Init.CounterMode = TIM_COUNTERMODE_UP;
  htim5.Init.Period = 4294967295;
  htim5.Init.ClockDivision = TIM_CLOCKDIVISION_DIV1;
  htim5.Init.AutoReloadPreload = TIM_AUTORELOAD_PRELOAD_DISABLE;
  sConfig.EncoderMode = TIM_ENCODERMODE_TI12;
  sConfig.IC1Polarity = TIM_ICPOLARITY_RISING;
  sConfig.IC1Selection = TIM_ICSELECTION_DIRECTTI;
  sConfig.IC1Prescaler = TIM_ICPSC_DIV1;
  sConfig.IC1Filter = 0;
  sConfig.IC2Polarity = TIM_ICPOLARITY_RISING;
  sConfig.IC2Selection = TIM_ICSELECTION_DIRECTTI;
  sConfig.IC2Prescaler = TIM_ICPSC_DIV1;
  sConfig.IC2Filter = 0;
  if (HAL_TIM_Encoder_Init(&htim5, &sConfig) != HAL_OK)
  {
    Error_Handler();
  }
  sMasterConfig.MasterOutputTrigger = TIM_TRGO_RESET;
  sMasterConfig.MasterSlaveMode = TIM_MASTERSLAVEMODE_DISABLE;
  if (HAL_TIMEx_MasterConfigSynchronization(&htim5, &sMasterConfig) != HAL_OK)
  {
    Error_Handler();
  }

}

static void MX_USART1_UART_Init(void)
{

  huart1.Instance = USART1;
  huart1.Init.BaudRate = 115200;
  huart1.Init.WordLength = UART_WORDLENGTH_8B;
  huart1.Init.StopBits = UART_STOPBITS_1;
  huart1.Init.Parity = UART_PARITY_NONE;
  huart1.Init.Mode = UART_MODE_TX_RX;
  huart1.Init.HwFlowCtl = UART_HWCONTROL_NONE;
  huart1.Init.OverSampling = UART_OVERSAMPLING_16;
  huart1.Init.OneBitSampling = UART_ONE_BIT_SAMPLE_DISABLE;
  huart1.Init.ClockPrescaler = UART_PRESCALER_DIV1;
  huart1.AdvancedInit.AdvFeatureInit = UART_ADVFEATURE_NO_INIT;
  if (HAL_UART_Init(&huart1) != HAL_OK)
  {
    Error_Handler();
  }
  if (HAL_UARTEx_SetTxFifoThreshold(&huart1, UART_TXFIFO_THRESHOLD_1_8) != HAL_OK)
  {
    Error_Handler();
  }
  if (HAL_UARTEx_SetRxFifoThreshold(&huart1, UART_RXFIFO_THRESHOLD_1_8) != HAL_OK)
  {
    Error_Handler();
  }
  if (HAL_UARTEx_DisableFifoMode(&huart1) != HAL_OK)
  {
    Error_Handler();
  }

}

static void MX_USART2_UART_Init(void)
{

  huart2.Instance = USART2;
  huart2.Init.BaudRate = 115200;
  huart2.Init.WordLength = UART_WORDLENGTH_8B;
  huart2.Init.StopBits = UART_STOPBITS_1;
  huart2.Init.Parity = UART_PARITY_NONE;
  huart2.Init.Mode = UART_MODE_TX_RX;
  huart2.Init.HwFlowCtl = UART_HWCONTROL_NONE;
  huart2.Init.OverSampling = UART_OVERSAMPLING_16;
  huart2.Init.OneBitSampling = UART_ONE_BIT_SAMPLE_DISABLE;
  huart2.Init.ClockPrescaler = UART_PRESCALER_DIV1;
  huart2.AdvancedInit.AdvFeatureInit = UART_ADVFEATURE_NO_INIT;
  if (HAL_UART_Init(&huart2) != HAL_OK)
  {
    Error_Handler();
  }
  if (HAL_UARTEx_SetTxFifoThreshold(&huart2, UART_TXFIFO_THRESHOLD_1_8) != HAL_OK)
  {
    Error_Handler();
  }
  if (HAL_UARTEx_SetRxFifoThreshold(&huart2, UART_RXFIFO_THRESHOLD_1_8) != HAL_OK)
  {
    Error_Handler();
  }
  if (HAL_UARTEx_DisableFifoMode(&huart2) != HAL_OK)
  {
    Error_Handler();
  }

}

static void MX_GPIO_Init(void)
{
  GPIO_InitTypeDef GPIO_InitStruct = {0};

  /* GPIO Ports Clock Enable */
  __HAL_RCC_GPIOI_CLK_ENABLE();
  __HAL_RCC_GPIOH_CLK_ENABLE();
  __HAL_RCC_GPIOA_CLK_ENABLE();
  __HAL_RCC_GPIOE_CLK_ENABLE();
  __HAL_RCC_GPIOD_CLK_ENABLE();
  __HAL_RCC_GPIOB_CLK_ENABLE();

  /*Configure GPIO pin Output Level */
  HAL_GPIO_WritePin(GPIOI, GPIO_PIN_8|GPIO_PIN_0|GPIO_PIN_2|GPIO_PIN_4
                          |GPIO_PIN_6, GPIO_PIN_RESET);

  /*Configure GPIO pin Output Level */
  HAL_GPIO_WritePin(GPIOH, GPIO_PIN_14, GPIO_PIN_RESET);

  /*Configure GPIO pin Output Level */
  HAL_GPIO_WritePin(GPIOE, GPIO_PIN_0|GPIO_PIN_1, GPIO_PIN_RESET);

  /*Configure GPIO pins : PI8 PI0 PI2 PI4
                           PI6 */
  GPIO_InitStruct.Pin = GPIO_PIN_8|GPIO_PIN_0|GPIO_PIN_2|GPIO_PIN_4
                          |GPIO_PIN_6;
  GPIO_InitStruct.Mode = GPIO_MODE_OUTPUT_PP;
  GPIO_InitStruct.Pull = GPIO_NOPULL;
  GPIO_InitStruct.Speed = GPIO_SPEED_FREQ_LOW;
  HAL_GPIO_Init(GPIOI, &GPIO_InitStruct);

  /*Configure GPIO pin : PH14 */
  GPIO_InitStruct.Pin = GPIO_PIN_14;
  GPIO_InitStruct.Mode = GPIO_MODE_OUTPUT_PP;
  GPIO_InitStruct.Pull = GPIO_NOPULL;
  GPIO_InitStruct.Speed = GPIO_SPEED_FREQ_LOW;
  HAL_GPIO_Init(GPIOH, &GPIO_InitStruct);

  /*Configure GPIO pins : PE0 PE1 */
  GPIO_InitStruct.Pin = GPIO_PIN_0|GPIO_PIN_1;
  GPIO_InitStruct.Mode = GPIO_MODE_OUTPUT_PP;
  GPIO_InitStruct.Pull = GPIO_NOPULL;
  GPIO_InitStruct.Speed = GPIO_SPEED_FREQ_LOW;
  HAL_GPIO_Init(GPIOE, &GPIO_InitStruct);

}

void MPU_Config(void)
{
  MPU_Region_InitTypeDef MPU_InitStruct = {0};

  /* Disables the MPU */
  HAL_MPU_Disable();

  /** Initializes and configures the Region and the memory to be protected
  */
  MPU_InitStruct.Enable = MPU_REGION_ENABLE;
  MPU_InitStruct.Number = MPU_REGION_NUMBER0;
  MPU_InitStruct.BaseAddress = 0x0;
  MPU_InitStruct.Size = MPU_REGION_SIZE_4GB;
  MPU_InitStruct.SubRegionDisable = 0x87;
  MPU_InitStruct.TypeExtField = MPU_TEX_LEVEL0;
  MPU_InitStruct.AccessPermission = MPU_REGION_NO_ACCESS;
  MPU_InitStruct.DisableExec = MPU_INSTRUCTION_ACCESS_DISABLE;
  MPU_InitStruct.IsShareable = MPU_ACCESS_SHAREABLE;
  MPU_InitStruct.IsCacheable = MPU_ACCESS_NOT_CACHEABLE;
  MPU_InitStruct.IsBufferable = MPU_ACCESS_NOT_BUFFERABLE;

  HAL_MPU_ConfigRegion(&MPU_InitStruct);
  /* Enables the MPU */
  HAL_MPU_Enable(MPU_PRIVILEGED_DEFAULT);

}

void Error_Handler(void)
{
  __disable_irq();
  while (1)
  {
  }
}
